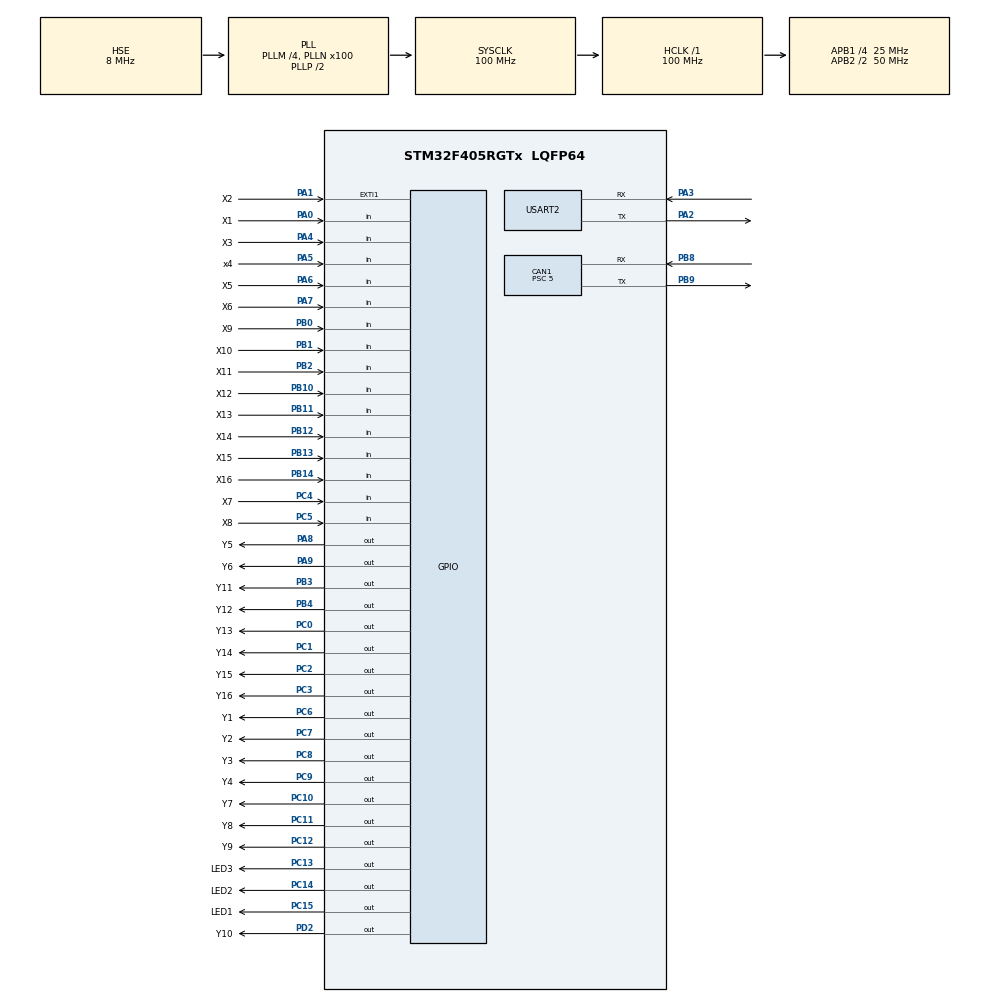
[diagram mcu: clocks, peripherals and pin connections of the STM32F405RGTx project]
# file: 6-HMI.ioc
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CAN1.ABOM=ENABLE
CAN1.AWUM=ENABLE
CAN1.BS1=CAN_BS1_2TQ
CAN1.BS2=CAN_BS2_2TQ
CAN1.CalculateBaudRate=1000000
CAN1.CalculateTimeBit=1000
CAN1.CalculateTimeQuantum=200.0
CAN1.Prescaler=5
Mcu.Family=STM32F4
Mcu.Name=STM32F405RGTx
Mcu.Package=LQFP64
NVIC.CAN1_RX0_IRQn=true\:1\:0\:true\:false\:true\:true\:true\:true
NVIC.EXTI1_IRQn=true\:1\:0\:true\:false\:true\:true\:true\:true
NVIC.PriorityGroup=NVIC_PRIORITYGROUP_4
NVIC.TIM2_IRQn=true\:2\:0\:true\:false\:true\:true\:true\:true
NVIC.TIM3_IRQn=true\:1\:0\:true\:false\:true\:true\:true\:true
NVIC.TIM6_DAC_IRQn=true\:1\:0\:true\:false\:true\:true\:true\:true
NVIC.USART2_IRQn=true\:2\:0\:true\:false\:true\:true\:true\:true
PA0-WKUP.GPIO_Label=X1
PA0-WKUP.Signal=GPIO_Input
PA1.GPIO_Label=X2
PA1.GPIO_ModeDefaultEXTI=GPIO_MODE_IT_FALLING
PA1.Signal=GPXTI1
PA11.Signal=USB_OTG_FS_DM
PA12.Signal=USB_OTG_FS_DP
PA13.Mode=Serial_Wire
PA13.Signal=SYS_JTMS-SWDIO
PA14.Mode=Serial_Wire
PA14.Signal=SYS_JTCK-SWCLK
PA2.Mode=Asynchronous
PA2.Signal=USART2_TX
PA3.Mode=Asynchronous
PA3.Signal=USART2_RX
PA4.GPIO_Label=X3
PA4.Signal=GPIO_Input
PA5.GPIO_Label=x4
PA5.Signal=GPIO_Input
PA6.GPIO_Label=X5
PA6.Signal=GPIO_Input
PA7.GPIO_Label=X6
PA7.Signal=GPIO_Input
PA8.GPIO_Label=Y5
PA8.PinState=GPIO_PIN_SET
PA8.Signal=GPIO_Output
PA9.GPIO_Label=Y6
PA9.PinState=GPIO_PIN_SET
PA9.Signal=GPIO_Output
PB0.GPIO_Label=X9
PB0.Signal=GPIO_Input
PB1.GPIO_Label=X10
PB1.Signal=GPIO_Input
PB10.GPIO_Label=X12
PB10.Signal=GPIO_Input
PB11.GPIO_Label=X13
PB11.Signal=GPIO_Input
PB12.GPIO_Label=X14
PB12.Signal=GPIO_Input
PB13.GPIO_Label=X15
PB13.Signal=GPIO_Input
PB14.GPIO_Label=X16
PB14.Signal=GPIO_Input
PB2.GPIO_Label=X11
PB2.Signal=GPIO_Input
PB3.GPIO_Label=Y11
PB3.PinState=GPIO_PIN_SET
PB3.Signal=GPIO_Output
PB4.GPIO_Label=Y12
PB4.PinState=GPIO_PIN_SET
PB4.Signal=GPIO_Output
PB6.Signal=USART1_TX
PB7.Signal=USART1_RX
PB8.Mode=CAN_Activate
PB8.Signal=CAN1_RX
PB9.Mode=CAN_Activate
PB9.Signal=CAN1_TX
PC0.GPIO_Label=Y13
PC0.PinState=GPIO_PIN_SET
PC0.Signal=GPIO_Output
PC1.GPIO_Label=Y14
PC1.PinState=GPIO_PIN_SET
PC1.Signal=GPIO_Output
PC10.GPIO_Label=Y7
PC10.PinState=GPIO_PIN_SET
PC10.Signal=GPIO_Output
PC11.GPIO_Label=Y8
PC11.PinState=GPIO_PIN_SET
PC11.Signal=GPIO_Output
PC12.GPIO_Label=Y9
PC12.PinState=GPIO_PIN_SET
PC12.Signal=GPIO_Output
PC13-ANTI_TAMP.GPIO_Label=LED3
PC13-ANTI_TAMP.PinState=GPIO_PIN_SET
PC13-ANTI_TAMP.Signal=GPIO_Output
PC14-OSC32_IN.GPIO_Label=LED2
PC14-OSC32_IN.PinState=GPIO_PIN_SET
PC14-OSC32_IN.Signal=GPIO_Output
PC15-OSC32_OUT.GPIO_Label=LED1
PC15-OSC32_OUT.PinState=GPIO_PIN_SET
PC15-OSC32_OUT.Signal=GPIO_Output
PC2.GPIO_Label=Y15
PC2.PinState=GPIO_PIN_SET
PC2.Signal=GPIO_Output
PC3.GPIO_Label=Y16
PC3.PinState=GPIO_PIN_SET
PC3.Signal=GPIO_Output
PC4.GPIO_Label=X7
PC4.Signal=GPIO_Input
PC5.GPIO_Label=X8
PC5.Signal=GPIO_Input
PC6.GPIO_Label=Y1
PC6.PinState=GPIO_PIN_SET
PC6.Signal=GPIO_Output
PC7.GPIO_Label=Y2
PC7.PinState=GPIO_PIN_SET
PC7.Signal=GPIO_Output
PC8.GPIO_Label=Y3
PC8.PinState=GPIO_PIN_SET
PC8.Signal=GPIO_Output
PC9.GPIO_Label=Y4
PC9.PinState=GPIO_PIN_SET
PC9.Signal=GPIO_Output
PD2.GPIO_Label=Y10
PD2.PinState=GPIO_PIN_SET
PD2.Signal=GPIO_Output
PH0-OSC_IN.Mode=HSE-External-Oscillator
PH0-OSC_IN.Signal=RCC_OSC_IN
PH1-OSC_OUT.Mode=HSE-External-Oscillator
PH1-OSC_OUT.Signal=RCC_OSC_OUT
ProjectManager.HeapSize=0x200
ProjectManager.StackSize=0x400
ProjectManager.TargetToolchain=MDK-ARM V5.32
RCC.48MHZClocksFreq_Value=50000000
RCC.AHBFreq_Value=100000000
RCC.APB1CLKDivider=RCC_HCLK_DIV4
RCC.APB1Freq_Value=25000000
RCC.APB1TimFreq_Value=50000000
RCC.APB2CLKDivider=RCC_HCLK_DIV2
RCC.APB2Freq_Value=50000000
RCC.APB2TimFreq_Value=100000000
RCC.CortexFreq_Value=100000000
RCC.HCLKFreq_Value=100000000
RCC.HSE_VALUE=8000000
RCC.HSI_VALUE=16000000
RCC.LSE_VALUE=32768
RCC.PLLM=4
RCC.PLLN=100
RCC.PLLSourceVirtual=RCC_PLLSOURCE_HSE
RCC.SYSCLKFreq_VALUE=100000000
RCC.SYSCLKSource=RCC_SYSCLKSOURCE_PLLCLK
RCC.VCOOutputFreq_Value=200000000
TIM2.AutoReloadPreload=TIM_AUTORELOAD_PRELOAD_ENABLE
TIM2.Period=999
TIM2.Prescaler=4999
TIM3.Period=4999
TIM3.Prescaler=4999
TIM6.Period=4999
TIM6.Prescaler=4999
USART2.VirtualMode=VM_ASYNC
VP_TIM2_VS_ClockSourceINT.Mode=Internal
VP_TIM3_VS_ClockSourceINT.Mode=Internal
VP_TIM6_VS_ClockSourceINT.Mode=Enable_Timer
board=custom

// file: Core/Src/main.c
/* USER CODE BEGIN Header */
/* USER CODE END Header */
#include "main.h"
#include "can.h"
#include "tim.h"
#include "usart.h"
#include "gpio.h"

/* USER CODE BEGIN Includes */
#include "motor.h"
#include "Screen.h"
#include "hmi_driver.h"
#include "cmd_queue.h"
#include "cmd_process.h"
#include "debug.h"

/* USER CODE END Includes */

/* USER CODE BEGIN PTD */
uint8_t flag = 0;

/* USER CODE END PTD */

void SystemClock_Config(void);

int main(void)
{

	/* MCU Configuration--------------------------------------------------------*/

	/* Reset of all peripherals, Initializes the Flash interface and the Systick. */
	HAL_Init();

	/* USER CODE BEGIN Init */
	queue_reset();

	/* USER CODE END Init */

	/* Configure the system clock */
	SystemClock_Config();

	/* Initialize all configured peripherals */
	MX_GPIO_Init();
	MX_TIM3_Init();
	MX_TIM6_Init();
	MX_CAN1_Init();
	MX_USART2_UART_Init();
	MX_TIM2_Init();
	/* USER CODE BEGIN 2 */
	CAN1_Config();

	HAL_UART_Receive_IT(&huart2, (uint8_t *)cmd_buffer, CMD_MAX_SIZE);
	HAL_TIM_Base_Start_IT(&htim2);

	Motor_Init();
	SetButtonValue(0, 2, 0);
	LED_Yellow();
	HAL_Delay(1000); // ��ʼ�������ʱ�����
	/* USER CODE END 2 */

	/* Infinite loop */
	/* USER CODE BEGIN WHILE */

	HAL_Delay(100);
	motor_AllGoHome();

	HAL_GPIO_WritePin(Y6_GPIO_Port, Y6_Pin, GPIO_PIN_RESET);

	while (1)
	{
		/* USER CODE END WHILE */

		/* USER CODE BEGIN 3 */
		while (updateFlag != 1)
		{
			if (home_button == 1)
			{
				motor_AllGoHome();
				home_button = 0;
			}

#if dbg
			Mydebug();
#endif
			HAL_GPIO_TogglePin(LED3_GPIO_Port, LED3_Pin);
			HAL_Delay(100);
		}
#if dbg
		debug = 0;
#endif
		if (flag != 0)
		{
			if (tray_num != 1)
				motor_AllGoHome();
		}

		MyGetTextValue();
		HAL_Delay(500);

		flag = Sys_Run(tray_num - 1);
		if (flag == 0)
		{
			SetTextInt32(0, 23, 0, 0, 2);
			HAL_Delay(2500);
			if (tray_num != 1)
				motor_AllGoHome();
		}

		SetButtonValue(0, 2, 0);
		MySetIcon(0,4,0);

		stop_state=1;
		updateFlag = 0;
#if dbg
		debug = 1;
#endif
		HAL_Delay(1500);
	}
	/* USER CODE END 3 */
}

void SystemClock_Config(void)
{
	RCC_OscInitTypeDef RCC_OscInitStruct = {0};
	RCC_ClkInitTypeDef RCC_ClkInitStruct = {0};

	/** Configure the main internal regulator output voltage
	 */
	__HAL_RCC_PWR_CLK_ENABLE();
	__HAL_PWR_VOLTAGESCALING_CONFIG(PWR_REGULATOR_VOLTAGE_SCALE1);

	/** Initializes the RCC Oscillators according to the specified parameters
	 * in the RCC_OscInitTypeDef structure.
	 */
	RCC_OscInitStruct.OscillatorType = RCC_OSCILLATORTYPE_HSE;
	RCC_OscInitStruct.HSEState = RCC_HSE_ON;
	RCC_OscInitStruct.PLL.PLLState = RCC_PLL_ON;
	RCC_OscInitStruct.PLL.PLLSource = RCC_PLLSOURCE_HSE;
	RCC_OscInitStruct.PLL.PLLM = 4;
	RCC_OscInitStruct.PLL.PLLN = 100;
	RCC_OscInitStruct.PLL.PLLP = RCC_PLLP_DIV2;
	RCC_OscInitStruct.PLL.PLLQ = 4;
	if (HAL_RCC_OscConfig(&RCC_OscInitStruct) != HAL_OK)
	{
		Error_Handler();
	}

	/** Initializes the CPU, AHB and APB buses clocks
	 */
	RCC_ClkInitStruct.ClockType = RCC_CLOCKTYPE_HCLK | RCC_CLOCKTYPE_SYSCLK | RCC_CLOCKTYPE_PCLK1 | RCC_CLOCKTYPE_PCLK2;
	RCC_ClkInitStruct.SYSCLKSource = RCC_SYSCLKSOURCE_PLLCLK;
	RCC_ClkInitStruct.AHBCLKDivider = RCC_SYSCLK_DIV1;
	RCC_ClkInitStruct.APB1CLKDivider = RCC_HCLK_DIV4;
	RCC_ClkInitStruct.APB2CLKDivider = RCC_HCLK_DIV2;

	if (HAL_RCC_ClockConfig(&RCC_ClkInitStruct, FLASH_LATENCY_3) != HAL_OK)
	{
		Error_Handler();
	}
}

void Error_Handler(void)
{
	__disable_irq();
	while (1)
	{
	}
}
